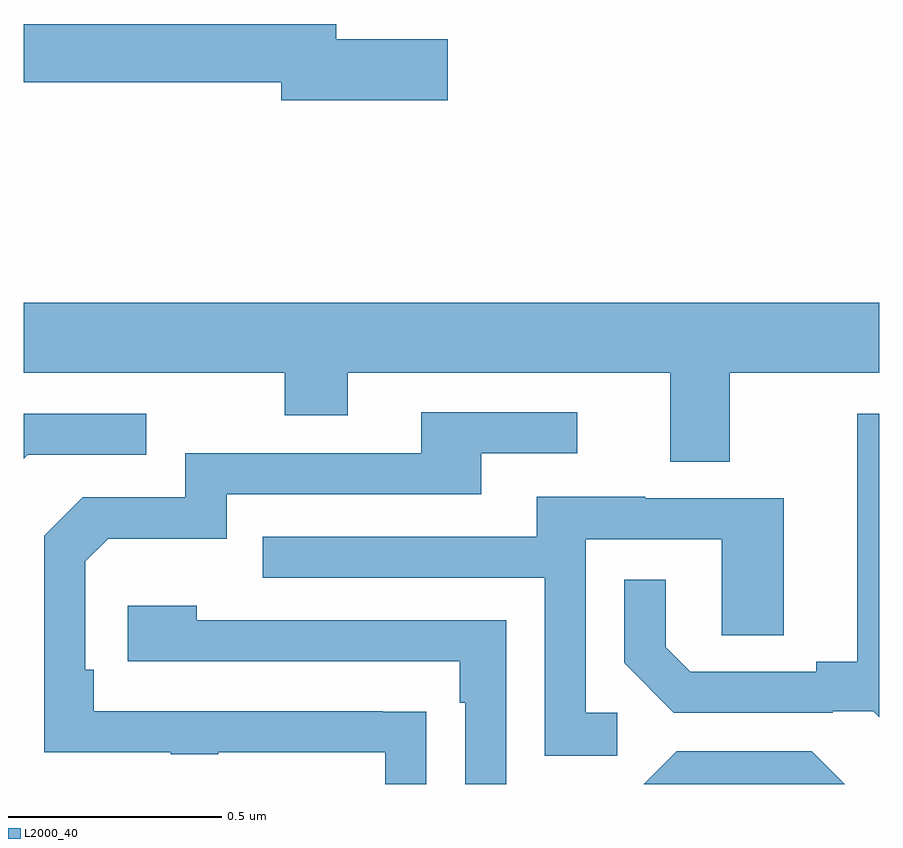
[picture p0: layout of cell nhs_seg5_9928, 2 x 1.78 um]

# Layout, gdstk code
import gdstk
lib = gdstk.Library(unit=1e-6, precision=1e-09)
def P(c, l, *ps):  # polygons
    for p in ps: c.add(gdstk.Polygon(p, *l))
L2000_40 = (2000, 40)

nhs_seg5_9928 = lib.new_cell('nhs_seg5_9928')
P(nhs_seg5_9928, L2000_40, [(240.991,857.54),(240.73,857.54),(240.73,857.576),(240,857.576),(240,857.44),(240.602,857.44),(240.602,857.398),(240.991,857.398)],
  [(241.651,856.76),(242,856.76),(242,856.924),(240,856.924),(240,856.76),(240.61,856.76),(240.61,856.661),(240.757,856.661),(240.757,856.76),(241.511,856.76),(241.511,856.552),(241.651,856.552)],
  [(240.941,855.968),(240.839,855.968),(240.839,855.969),(240.164,855.969),(240.164,856.066),(240.144,856.066),(240.144,856.32),(240.197,856.373),(240.474,856.373),(240.474,856.476),(241.069,856.476),(241.069,856.572),(241.294,856.572),(241.294,856.668),(240.929,856.668),(240.929,856.572),(240.378,856.572),(240.378,856.47),(240.138,856.47),(240.048,856.38),(240.048,855.873),(240.343,855.873),(240.343,855.868),(240.455,855.868),(240.455,855.873),(240.845,855.873),(240.845,855.799),(240.941,855.799)],
  [(240.009,856.569),(240.286,856.569),(240.286,856.665),(240,856.665),(240,856.56)],
  [(242,856.665),(241.949,856.665),(241.949,856.085),(241.853,856.085),(241.853,856.062),(241.558,856.062),(241.501,856.119),(241.501,856.276),(241.404,856.276),(241.404,856.082),(241.52,855.966),(241.892,855.966),(241.892,855.969),(241.986,855.969),(242,855.955)],
  [(241.387,855.966),(241.314,855.966),(241.314,856.371),(241.632,856.371),(241.632,856.147),(241.777,856.147),(241.777,856.467),(241.453,856.467),(241.453,856.471),(241.199,856.471),(241.199,856.377),(240.559,856.377),(240.559,856.281),(241.218,856.281),(241.218,855.865),(241.387,855.865)],
  [(241.128,856.182),(240.404,856.182),(240.404,856.216),(240.243,856.216),(240.243,856.086),(241.019,856.086),(241.019,855.989),(241.032,855.989),(241.032,855.799),(241.128,855.799)],
  [(241.842,855.876),(241.527,855.876),(241.45,855.799),(241.919,855.799)])

lib.write_gds('nhs_seg5_9928.gds')
